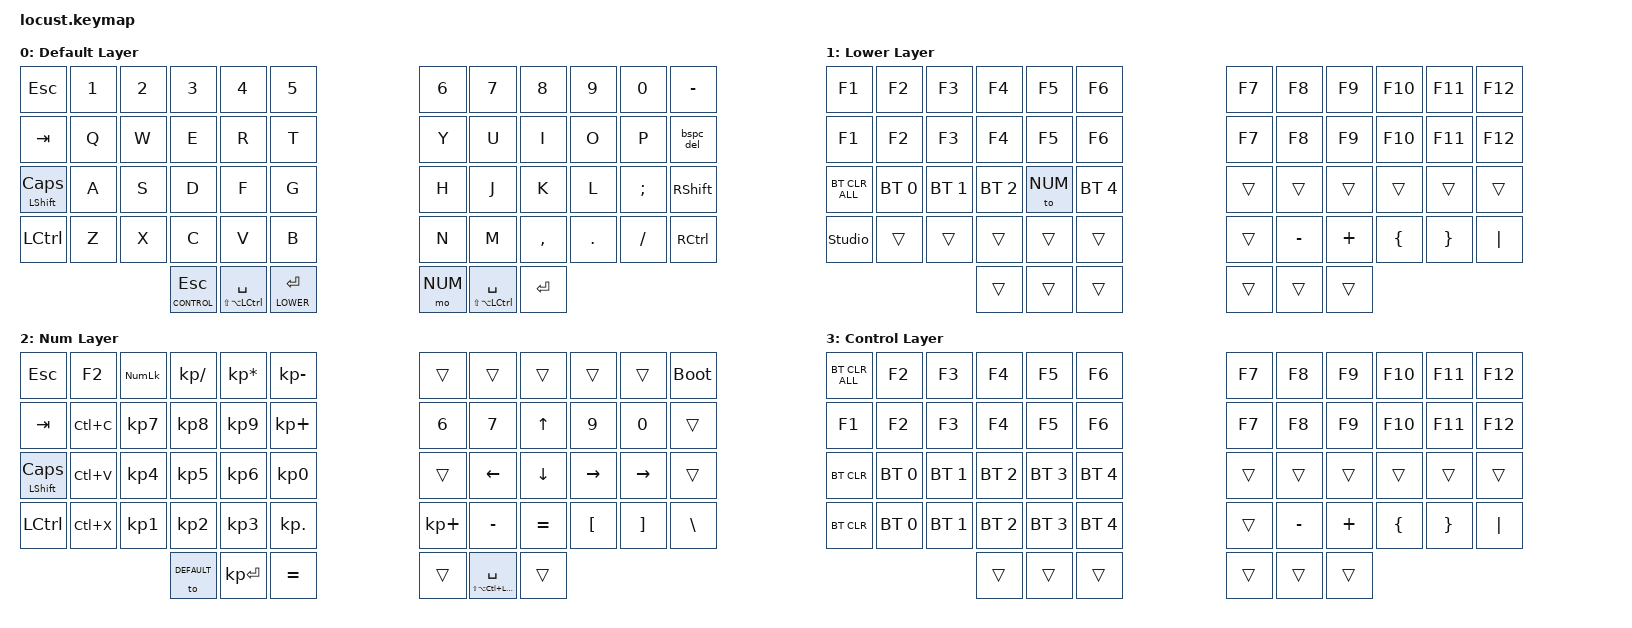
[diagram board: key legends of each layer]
#include <behaviors.dtsi>
#include <dt-bindings/zmk/keys.h>
#include <dt-bindings/zmk/bt.h>

#define DEFAULT 0
#define LOWER 1
#define NUM 2
#define CONTROL 3
#define MEH LS(LA(LCTL))
#define HYPER LS(LA(LC(LGUI)))


/ {
    behaviors {
        bspc_del: backspace_delete {
            compatible = "zmk,behavior-mod-morph";
            #binding-cells = <0>;
            bindings = <&kp BSPC>, <&kp DEL>;
            mods = <(MOD_LCTL|MOD_LSFT|MOD_RCTL|MOD_RSFT)>;
            keep-mods = <(MOD_LCTL|MOD_RSFT)>;
        };
    };
};

/ {
    keymap {
        compatible = "zmk,keymap";

        default_layer {
            display-name = "Default Layer";
// ------------------------------------------------------------------------------------------------------------
// |  ESC       |  1   |  2   |  3     |  4      |  5   |     |  6     |  7       |  8      |  9    |   0    |   -      |
// |  TAB       |  Q   |  W   |  E     |  R      |  T   |     |  Y     |  U       |  I      |  O    |   P    | BSPC-DEL |
// | LSHFT      |  A   |  S   |  D     |  F      |  G   |     |  H     |  J       |  K      |  L    |   ;    |  RSHFT   |
// | lCTRL      |  Z   |  X   |  C     |  V      |  B   |     |  N     |  M       |  ,      |  .    |   /    |  RCTRL   |
//                            | ALT    | SPACE   | LOWER|     | RAISE  | ENTER    | RCTRL   |
            bindings = <
&kp ESC          &kp N1           &kp N2           &kp N3            &kp N4          &kp N5                      &kp N6         &kp N7          &kp N8         &kp N9        &kp N0          &kp MINUS
&kp TAB          &kp Q            &kp W            &kp E             &kp R           &kp T                       &kp Y          &kp U           &kp I          &kp O         &kp P           &bspc_del
&mt LSHFT CAPS   &kp A            &kp S            &kp D             &kp F           &kp G                       &kp H          &kp J           &kp K          &kp L         &kp SEMI        &kp RSHFT
&kp LCTRL        &kp Z            &kp X            &kp C             &kp V           &kp B                       &kp N          &kp M           &kp COMMA      &kp DOT       &kp FSLH        &kp RCTRL
                                                   &lt CONTROL ESC   &mt MEH SPACE   &lt LOWER ENTER             &mo NUM        &mt MEH SPACE   &kp RETURN
            >;
        };

        lower_layer {
            display-name = "Lower Layer";
// ------------------------------------------------------------------------------------------------------------
// |  F1      |  F2 |  F3 |  F4  |  F5  |  F6  |     |  F7  |  F8   |  F9   |  F10 |  F11  |  F12  |
// | BTCLRALL | BT1 | BT2 |  BT3 |  BT4 |  BT5 |     |      |       |       |      |       |       |
// |   `      |  !  |  @  |  #   |  $   |  %   |     |  ^   |  &    |  *    |  (   |   )   |   ~   |
// |          |     |     |      |      |      |     |      |  _    |  +    |  {   |   }   |  "|"  |
//                        |      |      |      |     |      |       |       |
            bindings = <
&kp F1          &kp F2           &kp F3            &kp F4            &kp F5       &kp F6                      &kp F7        &kp F8          &kp F9          &kp F10      &kp F11         &kp F12
&kp F1          &kp F2           &kp F3            &kp F4            &kp F5       &kp F6                      &kp F7        &kp F8          &kp F9          &kp F10      &kp F11         &kp F12
&bt BT_CLR_ALL  &bt BT_SEL 0     &bt BT_SEL 1      &bt BT_SEL 2      &to NUM      &bt BT_SEL 4                &trans        &trans          &trans          &trans       &trans          &trans
&studio_unlock  &trans           &trans            &trans            &trans       &trans                      &trans        &kp MINUS       &kp PLUS        &kp LBRC     &kp RBRC        &kp PIPE
                                                   &trans            &trans       &trans                      &trans        &trans          &trans
            >;
        };

        num_layer {
            display-name = "Num Layer";
// ------------------------------------------------------------------------------------------------------------
// |       |     |     |      |      |      |     |      |       |       |      |       |       |
// |   `   |  1  |  2  |  3   |  4   |  5   |     |  6   |   7   |   8   |  9   |   0   |       |
// |   F1  |  F2 |  F3 |  F4  |  F5  |  F6  |     |      |   <-  |   v   |  ^   |  ->   |       |
// |   F7  |  F8 |  F9 |  F10 |  F11 |  F12 |     |  +   |   -   |   =   |  [   |   ]   |   \   |
//                     |      |      |      |     |      |       |       |
            bindings = <
&kp ESC          &kp F2          &kp KP_NUMLOCK    &kp KP_DIVIDE    &kp KP_MULTIPLY &kp KP_MINUS                &trans        &trans           &trans          &trans       &trans          &bootloader
&kp TAB          &kp LC(C)       &kp KP_N7         &kp KP_N8        &kp KP_N9       &kp KP_PLUS                 &kp N6        &kp N7           &kp UP          &kp N9       &kp N0          &trans
&mt LSHFT CAPS   &kp LC(V)       &kp KP_N4         &kp KP_N5        &kp KP_N6       &kp KP_N0                   &trans        &kp LEFT         &kp DOWN        &kp RIGHT    &kp RIGHT       &trans
&kp LCTRL        &kp LC(X)       &kp KP_N1         &kp KP_N2        &kp KP_N3       &kp KP_DOT                  &kp KP_PLUS   &kp MINUS        &kp EQUAL       &kp LBKT     &kp RBKT        &kp BSLH
                                                   &to DEFAULT      &kp KP_ENTER    &kp EQUAL                   &trans        &mt HYPER SPACE  &trans
            >;
        };

        control_layer {
            display-name = "Control Layer";
// ------------------------------------------------------------------------------------------------------------
// |  F1      |  F2 |  F3 |  F4  |  F5  |  F6  |     |  F7  |  F8   |  F9   |  F10 |  F11  |  F12  |
// | BTCLRALL | BT1 | BT2 |  BT3 |  BT4 |  BT5 |     |      |       |       |      |       |       |
// |   `      |  !  |  @  |  #   |  $   |  %   |     |  ^   |  &    |  *    |  (   |   )   |   ~   |
// |          |     |     |      |      |      |     |      |  _    |  +    |  {   |   }   |  "|"  |
//                        |      |      |      |     |      |       |       |
            bindings = <
&bt BT_CLR_ALL  &kp F2           &kp F3            &kp F4            &kp F5       &kp F6          &kp F7    &kp F8    &kp F9    &kp F10   &kp F11   &kp F12
&kp F1          &kp F2           &kp F3            &kp F4            &kp F5       &kp F6          &kp F7    &kp F8    &kp F9    &kp F10   &kp F11   &kp F12
&bt BT_CLR      &bt BT_SEL 0     &bt BT_SEL 1      &bt BT_SEL 2      &bt BT_SEL 3 &bt BT_SEL 4    &trans    &trans    &trans    &trans    &trans    &trans
&bt BT_CLR      &bt BT_SEL 0     &bt BT_SEL 1      &bt BT_SEL 2      &bt BT_SEL 3 &bt BT_SEL 4    &trans    &kp MINUS &kp PLUS  &kp LBRC  &kp RBRC  &kp PIPE
                                                   &trans            &trans       &trans          &trans    &trans    &trans
            >;
        };

        extra2 {
            status = "reserved";
        };

    };
};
